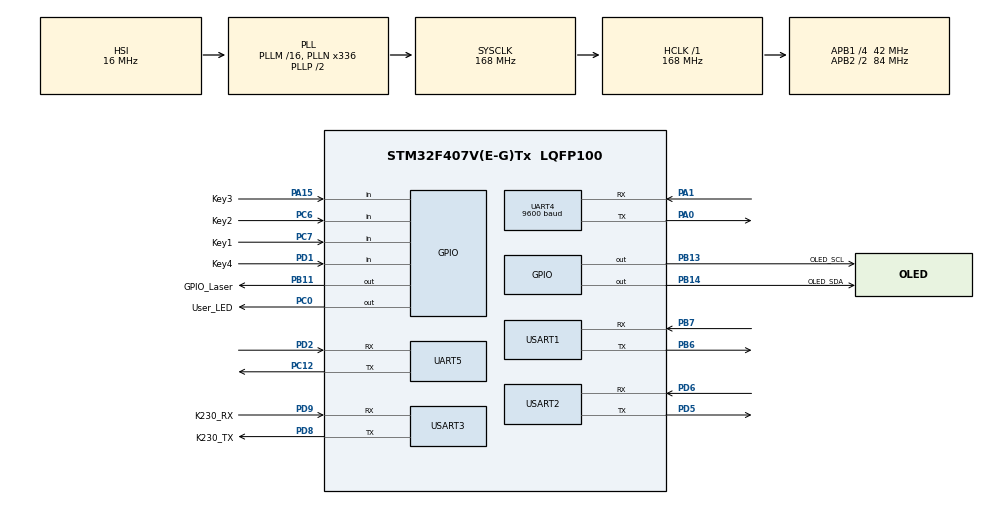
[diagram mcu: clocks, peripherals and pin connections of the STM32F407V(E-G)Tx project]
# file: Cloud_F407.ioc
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Mcu.Family=STM32F4
Mcu.Name=STM32F407V(E-G)Tx
Mcu.Package=LQFP100
NVIC.PriorityGroup=NVIC_PRIORITYGROUP_4
NVIC.TIM8_TRG_COM_TIM14_IRQn=true\:0\:0\:false\:false\:true\:true\:true\:true
NVIC.UART4_IRQn=true\:0\:0\:false\:false\:true\:true\:true\:true
NVIC.UART5_IRQn=true\:0\:0\:false\:false\:true\:true\:true\:true
NVIC.USART1_IRQn=true\:0\:0\:false\:false\:true\:true\:true\:true
NVIC.USART2_IRQn=true\:0\:0\:false\:false\:true\:true\:true\:true
NVIC.USART3_IRQn=true\:0\:0\:false\:false\:true\:true\:true\:true
PA0-WKUP.Mode=Asynchronous
PA0-WKUP.Signal=UART4_TX
PA1.Mode=Asynchronous
PA1.Signal=UART4_RX
PA13.Mode=Serial_Wire
PA13.Signal=SYS_JTMS-SWDIO
PA14.Mode=Serial_Wire
PA14.Signal=SYS_JTCK-SWCLK
PA15.GPIO_Label=Key3
PA15.GPIO_PuPd=GPIO_PULLUP
PA15.Signal=GPIO_Input
PB11.GPIO_Label=GPIO_Laser
PB11.Signal=GPIO_Output
PB13.GPIO_Label=OLED_SCL
PB13.GPIO_Speed=GPIO_SPEED_FREQ_HIGH
PB13.Signal=GPIO_Output
PB14.GPIO_Label=OLED_SDA
PB14.GPIO_Speed=GPIO_SPEED_FREQ_HIGH
PB14.Signal=GPIO_Output
PB6.Mode=Asynchronous
PB6.Signal=USART1_TX
PB7.Mode=Asynchronous
PB7.Signal=USART1_RX
PC0.GPIO_Label=User_LED
PC0.Signal=GPIO_Output
PC12.Mode=Asynchronous
PC12.Signal=UART5_TX
PC6.GPIO_Label=Key2
PC6.GPIO_PuPd=GPIO_PULLUP
PC6.Signal=GPIO_Input
PC7.GPIO_Label=Key1
PC7.GPIO_PuPd=GPIO_PULLUP
PC7.Signal=GPIO_Input
PD1.GPIO_Label=Key4
PD1.GPIO_PuPd=GPIO_PULLUP
PD1.Signal=GPIO_Input
PD2.Mode=Asynchronous
PD2.Signal=UART5_RX
PD5.Mode=Asynchronous
PD5.Signal=USART2_TX
PD6.Mode=Asynchronous
PD6.Signal=USART2_RX
PD8.GPIO_Label=K230_TX
PD8.Mode=Asynchronous
PD8.Signal=USART3_TX
PD9.GPIO_Label=K230_RX
PD9.Mode=Asynchronous
PD9.Signal=USART3_RX
ProjectManager.HeapSize=0x200
ProjectManager.StackSize=0x400
ProjectManager.TargetToolchain=CMake
RCC.48MHZClocksFreq_Value=84000000
RCC.AHBFreq_Value=168000000
RCC.APB1CLKDivider=RCC_HCLK_DIV4
RCC.APB1Freq_Value=42000000
RCC.APB1TimFreq_Value=84000000
RCC.APB2CLKDivider=RCC_HCLK_DIV2
RCC.APB2Freq_Value=84000000
RCC.APB2TimFreq_Value=168000000
RCC.CortexFreq_Value=168000000
RCC.HCLKFreq_Value=168000000
RCC.HSE_VALUE=25000000
RCC.HSI_VALUE=16000000
RCC.LSE_VALUE=32768
RCC.PLLN=336
RCC.SYSCLKFreq_VALUE=168000000
RCC.SYSCLKSource=RCC_SYSCLKSOURCE_PLLCLK
RCC.VCOOutputFreq_Value=336000000
TIM14.Period=999
TIM14.Prescaler=83
UART4.BaudRate=9600
UART4.VirtualMode=Asynchronous
UART5.VirtualMode=Asynchronous
USART1.VirtualMode=VM_ASYNC
USART2.VirtualMode=VM_ASYNC
USART3.VirtualMode=VM_ASYNC
VP_TIM14_VS_ClockSourceINT.Mode=Enable_Timer
board=custom

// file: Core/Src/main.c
/* USER CODE BEGIN Header */
/**
  ******************************************************************************
  * @file           : main.c
  * @brief          : Main program body
  ******************************************************************************
  * @attention
  *
  * Copyright (c) 2026 STMicroelectronics.
  * All rights reserved.
  *
  * This software is licensed under terms that can be found in the LICENSE file
  * in the root directory of this software component.
  * If no LICENSE file comes with this software, it is provided AS-IS.
  *
  ******************************************************************************
  */
/* USER CODE END Header */
#include "main.h"
#include "tim.h"
#include "usart.h"
#include "gpio.h"

/* USER CODE BEGIN Includes */
#include "PID.h"
#include "Timer.h"
#include "Key_manage.h"
#include "OLED.h"
#include "Task_Cloud.h"
#include "K230.h"
#include "DO_Device.h"
#include "Task_Ball_Contral.h"
#include "JY61P.h"
#include "Serial.h"
#include "Task_Blue.h"
#include "Ball_Impact_Config.h"
/* USER CODE END Includes */

/* USER CODE BEGIN PV */
Timer_t Timer_Tick;
uint8_t i = 0;
uint8_t j = 0;
extern DO_Device_t Laser;
Serial_t Serial_JY61P;
JY61P_CalibratedAccel_t Accel_Calibrated;
/* USER CODE END PV */

void SystemClock_Config(void);

/* USER CODE BEGIN 0 */

void Timer_Tick_Callback(Timer_t *timer){
  if(timer == &Timer_Tick){
    j++;
    Key_Global_Tick();
    Task_Ball_Contral_Tick();
  }
}

static void Ball_Impact_Config_OLED_Update(void){
  static uint16_t Last_Start_Lower = 0xFFFFU;
  static uint16_t Last_Stop_Raise = 0xFFFFU;
  static uint8_t Last_Dirty = 0xFFU;
  static uint8_t Last_Save_Error = 0xFFU;
  uint16_t Start_Lower = BallImpactConfig_Get_Start_Lower();
  uint16_t Stop_Raise = BallImpactConfig_Get_Stop_Raise();
  uint8_t Dirty = BallImpactConfig_Is_Dirty();
  uint8_t Save_Error = BallImpactConfig_Has_Save_Error();

  /* 只有参数或保存状态变化时才刷新，避免OLED通信拖慢控球循环。 */
  if(Start_Lower == Last_Start_Lower
     && Stop_Raise == Last_Stop_Raise
     && Dirty == Last_Dirty
     && Save_Error == Last_Save_Error){
    return;
  }

  OLED_ShowString(1, 1, "K2 LOW  K3 RAISE");
  if(Save_Error){
    OLED_ShowString(2, 1, "K4 SAVE:ERROR   ");
  }
  else if(Dirty){
    OLED_ShowString(2, 1, "K4 SAVE:PENDING ");
  }
  else{
    OLED_ShowString(2, 1, "K4 SAVE:OK      ");
  }
  OLED_ShowString(3, 1, "LOWER:          ");
  OLED_ShowNum(3, 8, Start_Lower, 3);
  OLED_ShowString(4, 1, "RAISE:          ");
  OLED_ShowNum(4, 8, Stop_Raise, 3);

  Last_Start_Lower = Start_Lower;
  Last_Stop_Raise = Stop_Raise;
  Last_Dirty = Dirty;
  Last_Save_Error = Save_Error;
}

/* USER CODE END 0 */

int main(void)
{

  /* MCU Configuration--------------------------------------------------------*/

  /* Reset of all peripherals, Initializes the Flash interface and the Systick. */
  HAL_Init();

  /* Configure the system clock */
  SystemClock_Config();

  /* Initialize all configured peripherals */
  MX_GPIO_Init();
  MX_TIM14_Init();
  MX_USART3_UART_Init();
  MX_USART1_UART_Init();
  MX_USART2_UART_Init();
  MX_UART5_Init();
  MX_UART4_Init();
  /* USER CODE BEGIN 2 */
  BallImpactConfig_Init();
  Key_Glabal_Init();
  OLED_Init();
  Ball_Impact_Config_OLED_Update();
  Task_Ball_Contral_Init();
  Task_Ball_Contral_Pop_Init();
  Serial_Init(&Serial_JY61P, Serial_5);
  JY61P_Init(&Serial_JY61P);
  Task_Blue_Init();
  Timer_Init(&Timer_Tick, Timer_14);
  Timer_Start_IT(&Timer_Tick, Timer_Tick_Callback);
  /* USER CODE END 2 */

  /* Infinite loop */
  while (1)
  {

    /* USER CODE BEGIN 3 */
    Key_Global_Trigger_Event();

    if(JY61P_Accel_Update() && JY61P_Is_Calibrated()){
      JY61P_Get_Calibrated_Accel(&Accel_Calibrated);
      Task_Ball_Contral_Update_Acceleration(Accel_Calibrated.Ay);
    }

    Task_Ball_Contral_Loop();
    Task_Blue_Loop();
    Ball_Impact_Config_OLED_Update();
  }
  /* USER CODE END 3 */
}

void SystemClock_Config(void)
{
  RCC_OscInitTypeDef RCC_OscInitStruct = {0};
  RCC_ClkInitTypeDef RCC_ClkInitStruct = {0};

  /** Configure the main internal regulator output voltage
  */
  __HAL_RCC_PWR_CLK_ENABLE();
  __HAL_PWR_VOLTAGESCALING_CONFIG(PWR_REGULATOR_VOLTAGE_SCALE1);

  /** Initializes the RCC Oscillators according to the specified parameters
  * in the RCC_OscInitTypeDef structure.
  */
  RCC_OscInitStruct.OscillatorType = RCC_OSCILLATORTYPE_HSI;
  RCC_OscInitStruct.HSIState = RCC_HSI_ON;
  RCC_OscInitStruct.HSICalibrationValue = RCC_HSICALIBRATION_DEFAULT;
  RCC_OscInitStruct.PLL.PLLState = RCC_PLL_ON;
  RCC_OscInitStruct.PLL.PLLSource = RCC_PLLSOURCE_HSI;
  RCC_OscInitStruct.PLL.PLLM = 16;
  RCC_OscInitStruct.PLL.PLLN = 336;
  RCC_OscInitStruct.PLL.PLLP = RCC_PLLP_DIV2;
  RCC_OscInitStruct.PLL.PLLQ = 4;
  if (HAL_RCC_OscConfig(&RCC_OscInitStruct) != HAL_OK)
  {
    Error_Handler();
  }

  /** Initializes the CPU, AHB and APB buses clocks
  */
  RCC_ClkInitStruct.ClockType = RCC_CLOCKTYPE_HCLK|RCC_CLOCKTYPE_SYSCLK
                              |RCC_CLOCKTYPE_PCLK1|RCC_CLOCKTYPE_PCLK2;
  RCC_ClkInitStruct.SYSCLKSource = RCC_SYSCLKSOURCE_PLLCLK;
  RCC_ClkInitStruct.AHBCLKDivider = RCC_SYSCLK_DIV1;
  RCC_ClkInitStruct.APB1CLKDivider = RCC_HCLK_DIV4;
  RCC_ClkInitStruct.APB2CLKDivider = RCC_HCLK_DIV2;

  if (HAL_RCC_ClockConfig(&RCC_ClkInitStruct, FLASH_LATENCY_5) != HAL_OK)
  {
    Error_Handler();
  }
}

void Error_Handler(void)
{
  __disable_irq();
  while (1)
  {
  }
}
